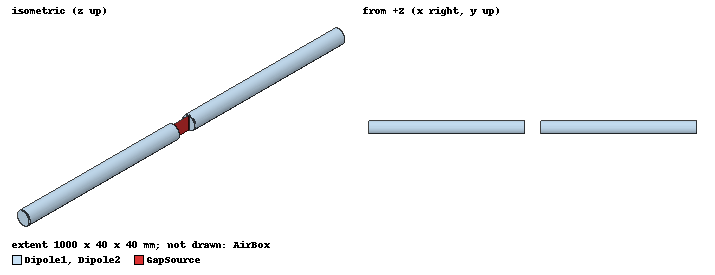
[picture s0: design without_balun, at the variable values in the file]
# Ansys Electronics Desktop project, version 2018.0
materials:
  vacuum: permittivity=1

design without_balun (HFSS, DrivenModal, model units mm)
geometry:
  Dipole1 [vacuum] = cylinder(axis=X, base_centre=(0.025meter, 0meter, 0meter), radius=0.02meter, height=0.475meter)
  Dipole2 [vacuum] = cylinder(axis=X, base_centre=(-0.025meter, 0meter, 0meter), radius=0.02meter, height=-0.475meter)
  GapSource = rectangle(corner=(-0.025meter, 0meter, -0.02meter), z_size=0.04meter, x_size=0.05meter)
  AirBox [vacuum] = box(corner=(-1meter, -0.5meter, -0.5meter), size=(2meter, 1meter, 1meter))
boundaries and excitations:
  ABC: Radiation Objects=AirBox
  LumpedPort: Lumped Port Objects=GapSource Modes{Mode1{IntLine{middle of GapSource.edge(x at corner) -> middle of GapSource.edge(x opposite corner)} CharImp=Zpi}} Impedance=50ohm
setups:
  Setup150MHz: HfssDriven Frequency=0.15GHz MaxDeltaS=0.02 MaximumPasses=25 MinimumPasses=1 MinimumConvergedPasses=1 PercentRefinement=20 BasisOrder=1 PortAccuracy=2
    sweep Sweep100to200MHz: 0.1GHz to 0.2GHz, 201 points; Type=Interpolating InterpTolerance=0.5 InterpMaxSolns=101 InterpUsePortImped=false PassivityErrorTolerance=0.0001
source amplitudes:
  LumpedPort:1: 1W 0deg
